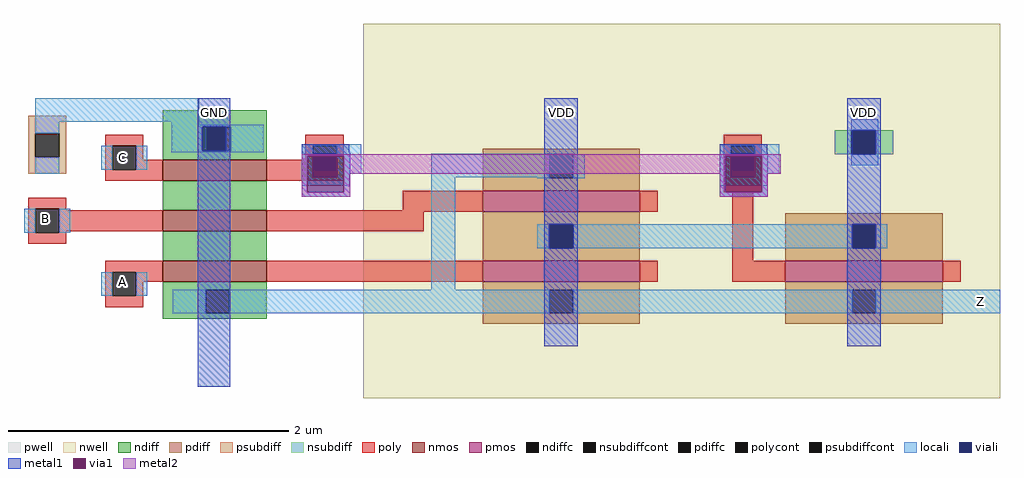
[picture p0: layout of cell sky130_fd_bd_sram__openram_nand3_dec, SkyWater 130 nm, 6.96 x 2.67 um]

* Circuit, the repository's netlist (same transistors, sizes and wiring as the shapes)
* Copyright 2020 The SkyWater PDK Authors
*
* Licensed under the Apache License, Version 2.0 (the "License");
* you may not use this file except in compliance with the License.
* You may obtain a copy of the License at
*
*     https://www.apache.org/licenses/LICENSE-2.0
*
* Unless required by applicable law or agreed to in writing, software
* distributed under the License is distributed on an "AS IS" BASIS,
* WITHOUT WARRANTIES OR CONDITIONS OF ANY KIND, either express or implied.
* See the License for the specific language governing permissions and
* limitations under the License.
*
* SPDX-License-Identifier: Apache-2.0


.subckt sky130_fd_bd_sram__openram_nand3_dec GND VDD
X0 GND C a_128_208# GND sky130_fd_pr__nfet_01v8 w=740000u l=150000u
X1 VDD C Z VDD sky130_fd_pr__pfet_01v8 w=1.12e+06u l=150000u
X2 Z B VDD VDD sky130_fd_pr__pfet_01v8 w=1.12e+06u l=150000u
X3 a_128_136# A Z GND sky130_fd_pr__nfet_01v8 w=740000u l=150000u
X4 VDD A Z VDD sky130_fd_pr__pfet_01v8 w=1.12e+06u l=150000u
X5 a_128_208# B a_128_136# GND sky130_fd_pr__nfet_01v8 w=740000u l=150000u
.ends

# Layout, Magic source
magic
tech sky130A
magscale 1 2
<< nwell >>
rect 414 -60 1322 474
<< pwell >>
rect -64 260 -10 343
<< nmos >>
rect 128 250 276 280
rect 128 178 276 208
rect 128 106 276 136
<< pmos >>
rect 584 206 808 236
rect 584 106 808 136
rect 1016 106 1240 136
<< ndiff >>
rect 128 327 276 351
rect 128 293 191 327
rect 225 293 276 327
rect 128 280 276 293
rect 128 208 276 250
rect 128 136 276 178
rect 128 95 276 106
rect 128 61 189 95
rect 223 61 276 95
rect 128 53 276 61
<< pdiff >>
rect 584 288 808 296
rect 584 254 679 288
rect 713 254 808 288
rect 584 236 808 254
rect 584 188 808 206
rect 584 154 679 188
rect 713 154 808 188
rect 584 136 808 154
rect 1016 188 1240 204
rect 1016 154 1111 188
rect 1145 154 1240 188
rect 1016 136 1240 154
rect 584 95 808 106
rect 584 61 679 95
rect 713 61 808 95
rect 584 46 808 61
rect 1016 95 1240 106
rect 1016 61 1111 95
rect 1145 61 1240 95
rect 1016 46 1240 61
<< ndiffc >>
rect 191 293 225 327
rect 189 61 223 95
<< pdiffc >>
rect 679 254 713 288
rect 679 154 713 188
rect 1111 154 1145 188
rect 679 61 713 95
rect 1111 61 1145 95
<< psubdiff >>
rect -64 318 -10 343
rect -64 284 -54 318
rect -20 284 -10 318
rect -64 260 -10 284
<< nsubdiff >>
rect 1086 288 1110 322
rect 1144 288 1170 322
<< psubdiffcont >>
rect -54 284 -20 318
<< nsubdiffcont >>
rect 1110 288 1144 322
<< poly >>
rect 46 300 100 316
rect 46 266 56 300
rect 90 280 100 300
rect 331 300 386 316
rect 331 280 342 300
rect 90 266 128 280
rect 46 250 128 266
rect 276 266 342 280
rect 376 266 386 300
rect 928 300 982 316
rect 276 250 386 266
rect -64 210 -10 226
rect -64 176 -54 210
rect -20 208 -10 210
rect 928 266 938 300
rect 972 266 982 300
rect 470 208 584 236
rect -20 178 128 208
rect 276 206 584 208
rect 808 206 834 236
rect 928 234 982 266
rect 276 178 500 206
rect -20 176 -10 178
rect -64 160 -10 176
rect 940 136 970 234
rect 46 120 128 136
rect 46 86 56 120
rect 90 106 128 120
rect 276 106 584 136
rect 808 106 834 136
rect 940 106 1016 136
rect 1240 106 1266 136
rect 90 86 100 106
rect 46 70 100 86
<< polycont >>
rect 56 266 90 300
rect 342 266 376 300
rect -54 176 -20 210
rect 938 266 972 300
rect 56 86 90 120
<< locali >>
rect -54 334 180 368
rect -54 318 -20 334
rect 140 330 180 334
rect 140 327 272 330
rect -54 260 -20 284
rect 40 266 56 300
rect 90 266 106 300
rect 140 293 184 327
rect 225 293 272 327
rect 1110 322 1148 338
rect 140 291 272 293
rect 326 300 411 302
rect 326 255 342 300
rect 376 260 411 300
rect 922 300 1007 302
rect 511 288 687 289
rect 376 255 394 260
rect 326 243 394 255
rect 511 255 679 288
rect -70 176 -54 210
rect -20 176 -4 210
rect 40 86 56 120
rect 90 86 106 120
rect 511 95 545 255
rect 662 254 679 255
rect 713 254 730 288
rect 922 255 938 300
rect 972 260 1007 300
rect 1145 288 1148 322
rect 1110 272 1148 288
rect 972 255 990 260
rect 922 243 990 255
rect 662 154 679 188
rect 713 154 1111 188
rect 1145 154 1161 188
rect 142 61 189 95
rect 223 61 679 95
rect 713 61 1111 95
rect 1145 61 1322 95
<< viali >>
rect 184 293 191 327
rect 191 293 218 327
rect 342 266 376 289
rect 342 255 376 266
rect 938 266 972 289
rect 938 255 972 266
rect 1111 288 1144 322
rect 1144 288 1145 322
rect 679 154 713 188
rect 1111 154 1145 188
<< metal1 >>
rect 178 327 224 368
rect 178 293 184 327
rect 218 293 224 327
rect 178 -44 224 293
rect 326 290 394 302
rect 326 289 395 290
rect 326 286 342 289
rect 376 286 395 289
rect 326 234 334 286
rect 386 234 395 286
rect 326 227 395 234
rect 672 188 720 368
rect 1104 322 1152 368
rect 922 290 990 302
rect 922 289 991 290
rect 922 286 938 289
rect 972 286 991 289
rect 922 234 930 286
rect 982 234 991 286
rect 922 227 991 234
rect 1104 288 1111 322
rect 1145 288 1152 322
rect 672 154 679 188
rect 713 154 720 188
rect 672 14 720 154
rect 1104 188 1152 288
rect 1104 154 1111 188
rect 1145 154 1152 188
rect 1104 14 1152 154
<< via1 >>
rect 334 255 342 286
rect 342 255 376 286
rect 376 255 386 286
rect 334 234 386 255
rect 930 255 938 286
rect 938 255 972 286
rect 972 255 982 286
rect 930 234 982 255
<< metal2 >>
rect 326 286 1009 288
rect 326 234 334 286
rect 386 260 930 286
rect 386 234 395 260
rect 326 227 395 234
rect 922 234 930 260
rect 982 260 1009 286
rect 982 234 991 260
rect 922 227 991 234
<< labels >>
rlabel metal1 s 677 338 715 356 4 VDD
port 1 nsew
rlabel metal1 s 1109 338 1147 356 4 VDD
port 1 nsew
rlabel corelocali s 1294 78 1294 78 4 Z
rlabel corelocali s 70 284 70 284 4 C
rlabel metal1 s 183 338 219 356 4 GND
port 0 nsew
rlabel corelocali s -40 196 -40 196 4 B
rlabel corelocali s 70 106 70 106 4 A
<< properties >>
string FIXED_BBOX -72 35 1321 351
string GDS_FILE sky130_fd_bd_sram__openram_nand3_dec.gds
string GDS_END 6070
string GDS_START 162
<< end >>
